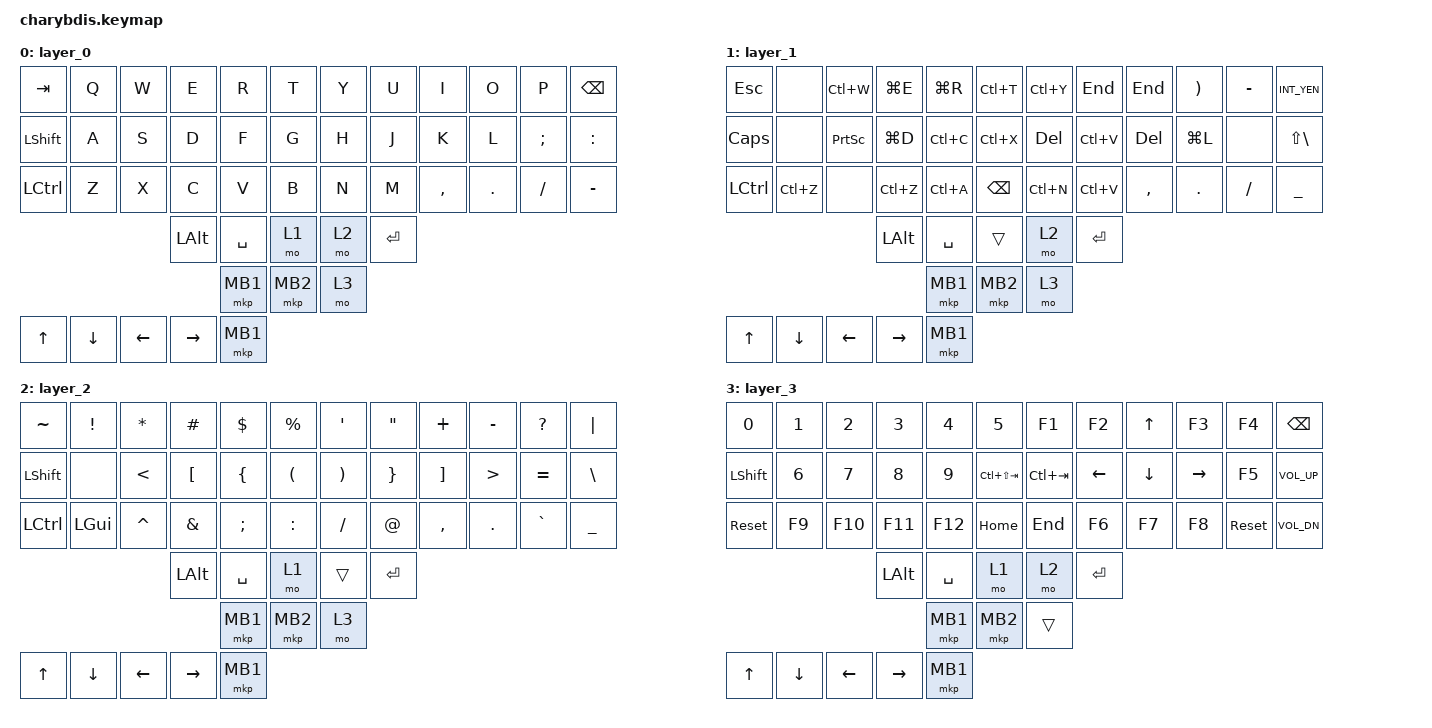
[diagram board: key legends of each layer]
#define ZMK_POINTING_DEFAULT_MOVE_VAL 1000
#define ZMK_POINTING_DEFAULT_SCRL_VAL 12

#include <behaviors.dtsi>
#include <dt-bindings/zmk/bt.h>
#include <dt-bindings/zmk/keys.h>
#include <dt-bindings/zmk/rgb.h>
#include <dt-bindings/zmk/outputs.h>
#include <dt-bindings/zmk/pointing.h>
#include <dt-bindings/zmk/mouse.h>
#include <input/processors.dtsi>
#include <zephyr/dt-bindings/input/input-event-codes.h>


/* 速度倍率（例）:
 * いま 2/1 (=2倍) になっているなら、
 * 1.1倍にしたい場合は 11/10 にできます（小数は使わず分数で調整）
 * 例: <&zip_xy_scaler 11 10>
 */
&mmv_input_listener { input-processors = <&zip_xy_scaler 50 10>; };
&msc_input_listener { input-processors = <&zip_scroll_scaler 35 10>; };

&msc {
    acceleration-exponent = <0>;
    time-to-max-speed-ms = <100>;
    delay-ms = <0>;
};

&mmv {
    time-to-max-speed-ms = <300>;
    acceleration-exponent = <1>;
    trigger-period-ms = <16>;
};

/ {
    behaviors {
    };

    keymap {
        compatible = "zmk,keymap";

        /* =========================
         * layer0 (Base)
         * ========================= */
        layer_0 {
            bindings = <
                &kp TAB         &kp Q    &kp W    &kp E    &kp R    &kp T       &kp Y    &kp U    &kp I    &kp O    &kp P      &kp BACKSPACE
                &kp LSHIFT      &kp A    &kp S    &kp D    &kp F    &kp G       &kp H    &kp J    &kp K    &kp L    &kp SEMI   &kp COLON
                &kp LCTRL       &kp Z    &kp X    &kp C    &kp V    &kp B       &kp N    &kp M    &kp COMMA &kp DOT  &kp FSLH   &kp MINUS

                                              &kp LALT   &kp SPACE  &mo 1      &mo 2     &kp ENTER
                                                        &mkp MB1   &mkp MB2   &mo 3
                /* 5-way: UP, DOWN, LEFT, RIGHT, CENTER */
                &kp UP &kp DOWN &kp LEFT &kp RIGHT &mkp MB1

            >;

        };

        /* =========================
         * layer1
         * （表のとおり：home / win+r / win+d / ctrl+c / ctrl+v / BS など）
         * ※ PrintScreen は PSCRN
         * ========================= */
        layer_1 {
            bindings = <
                &kp ESC         &none      &kp LC(W)  &kp LG(E)   &kp LG(R)  &kp LC(T)          &kp LC(Y)  &kp END      &kp END    &kp RPAR   &kp MINUS   &kp INT_YEN
                &kp CAPS        &none      &kp PSCRN  &kp LG(D)   &kp LC(C)  &kp LC(X)          &kp DEL    &kp LC(V)    &kp DEL    &kp LG(L)  &none      &kp LS(BSLH)
                &kp LCTRL       &kp LC(Z)  &none      &kp LC(Z)   &kp LC(A)  &kp BACKSPACE      &kp LC(N)  &kp LC(V)    &kp COMMA  &kp DOT    &kp FSLH   &kp UNDERSCORE

                                              &kp LALT   &kp SPACE  &trans                      &mo 2     &kp ENTER
                                                         &mkp MB1   &mkp MB2                    &mo 3
                /* 5-way: UP, DOWN, LEFT, RIGHT, CENTER */
                &kp UP &kp DOWN &kp LEFT &kp RIGHT &mkp MB1

            >;

        };

        /* =========================
         * layer2 (US記号 + Fキー / nav)
         * ========================= */
        layer_2 {
            bindings = <
                &kp TILDE         &kp EXCL  &kp STAR      &kp HASH      &kp DLLR   &kp PRCNT          &kp SQT     &kp DQT     &kp PLUS      &kp MINUS   &kp QMARK     &kp PIPE
                &kp LSHIFT      &none     &kp LT        &kp LBKT      &kp LBRC   &kp LPAR           &kp RPAR    &kp RBRC    &kp RBKT      &kp GT      &kp EQUAL     &kp BACKSLASH
                &kp LCTRL       &kp LGUI  &kp CARET     &kp AMPS      &kp SEMI   &kp COLON          &kp FSLH    &kp AT      &kp COMMA     &kp DOT     &kp GRAVE     &kp UNDERSCORE

                                                      &kp LALT   &kp SPACE  &mo 1                     &trans    &kp ENTER
                                                                 &mkp MB1   &mkp MB2                  &mo 3
                /* 5-way: UP, DOWN, LEFT, RIGHT, CENTER */
                &kp UP &kp DOWN &kp LEFT &kp RIGHT &mkp MB1

            >;

        };

        /* =========================
         * layer3 (M1..M10 + arrows + volume)
         * ========================= */
        layer_3 {
            bindings = <
                &kp N0          &kp N1        &kp N2    &kp N3    &kp N4     &kp N5            &kp F1        &kp F2    &kp UP    &kp F3        &kp F4           &kp BACKSPACE
                &kp LSHIFT      &kp N6        &kp N7    &kp N8    &kp N9     &kp LC(LS(TAB))   &kp LC(TAB)   &kp LEFT  &kp DOWN  &kp RIGHT     &kp F5           &kp C_VOL_UP
                &sys_reset      &kp F9        &kp F10   &kp F11   &kp F12    &kp HOME          &kp END       &kp F6    &kp F7    &kp F8        &sys_reset       &kp C_VOL_DN

                                                         &kp LALT   &kp SPACE  &mo 1        &mo 2     &kp ENTER
                                                                 &mkp MB1   &mkp MB2        &trans
                /* 5-way: UP, DOWN, LEFT, RIGHT, CENTER */
                &kp UP &kp DOWN &kp LEFT &kp RIGHT &mkp MB1

            >;

        };
    };
};
